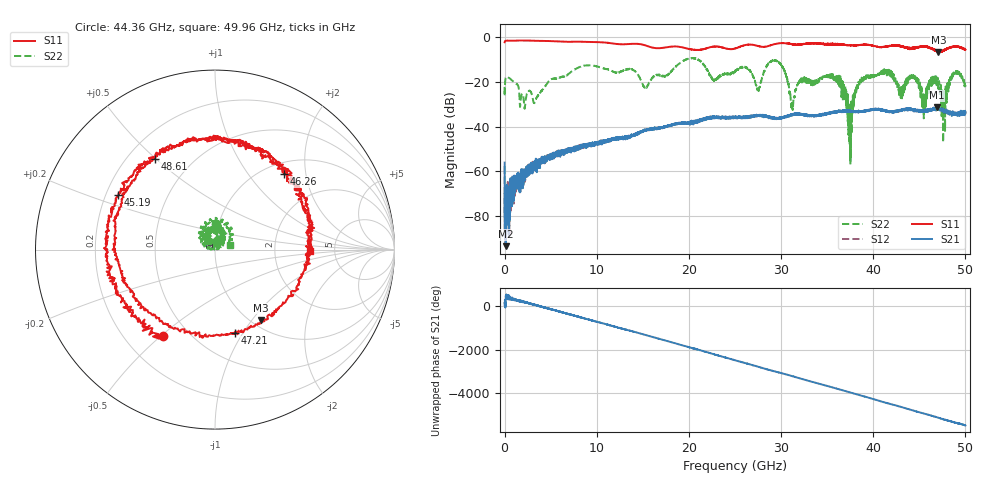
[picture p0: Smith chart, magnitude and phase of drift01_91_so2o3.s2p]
!Created with skrf (http://scikit-rf.org).
# Hz S RI R 50.0
!freq ReS11 ImS11 ReS21 ImS21 ReS12 ImS12 ReS22 ImS22
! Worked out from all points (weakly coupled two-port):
!   10001 points, 300 kHz to 50 GHz, reference 50 ohm
!   highest |S21| = -31.41 dB at 46.9 GHz (marker M1); lowest = -93.7 dB at 125.3 MHz (marker M2)
!   lowest |S11| = -6.6 dB at 47.07 GHz (marker M3), VSWR 2.76, Z = 55 - j55.3 ohm
!   |S11| at or under -10 dB: nowhere
!   |S22| runs from -57.0 to -9.2 dB; largest |S21 - S12| = 0.0038
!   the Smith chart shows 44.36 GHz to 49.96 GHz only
!   S11 on the Smith chart (normalised r, x): 44.36 GHz: 0.36, -0.51; 45.19 GHz: 0.25, +0.25; 46.26 GHz: 1.21, +1.52; 47.21 GHz: 0.77, -0.93; 48.61 GHz: 0.31, +0.50; 49.96 GHz: 3.25, -0.06
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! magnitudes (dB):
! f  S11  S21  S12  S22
! 300 kHz  -2.1  -56.2  -57.9  -22.2
! 125.3 MHz  -1.5  -93.7  -71.5  -18.0
! 3.29 GHz  -1.5  -58.5  -56.4  -28.9
! 8.335 GHz  -1.9  -49.0  -49.1  -12.9
! 16.67 GHz  -4.8  -40.9  -40.9  -16.6
! 25 GHz  -5.0  -35.9  -35.8  -15.4
! 29.59 GHz  -2.8  -36.4  -36.5  -10.6
! 31.24 GHz  -3.0  -35.0  -34.8  -32.1
! 33.34 GHz  -2.6  -34.8  -35.0  -20.0
! 36.21 GHz  -3.3  -33.4  -33.2  -20.9
! 37.47 GHz  -3.6  -33.2  -33.2  -33.5
! 38.66 GHz  -3.4  -33.1  -33.1  -20.3
! 41.67 GHz  -3.9  -33.5  -33.3  -15.7
! 44.36 GHz  -5.0  -32.1  -32.3  -17.0
! 45.19 GHz  -4.2  -33.0  -32.9  -26.1
! 46.26 GHz  -4.8  -32.5  -32.1  -18.7
! 46.9 GHz  -6.1  -31.4  -32.1  -20.5
! 47.07 GHz  -6.6  -32.1  -31.6  -23.1
! 47.21 GHz  -6.4  -32.2  -32.5  -24.0
! 48.61 GHz  -4.3  -33.2  -33.8  -17.3
! 49.96 GHz  -5.5  -34.0  -33.3  -21.2
! 50 GHz  -5.5  -33.5  -33.8  -21.4
